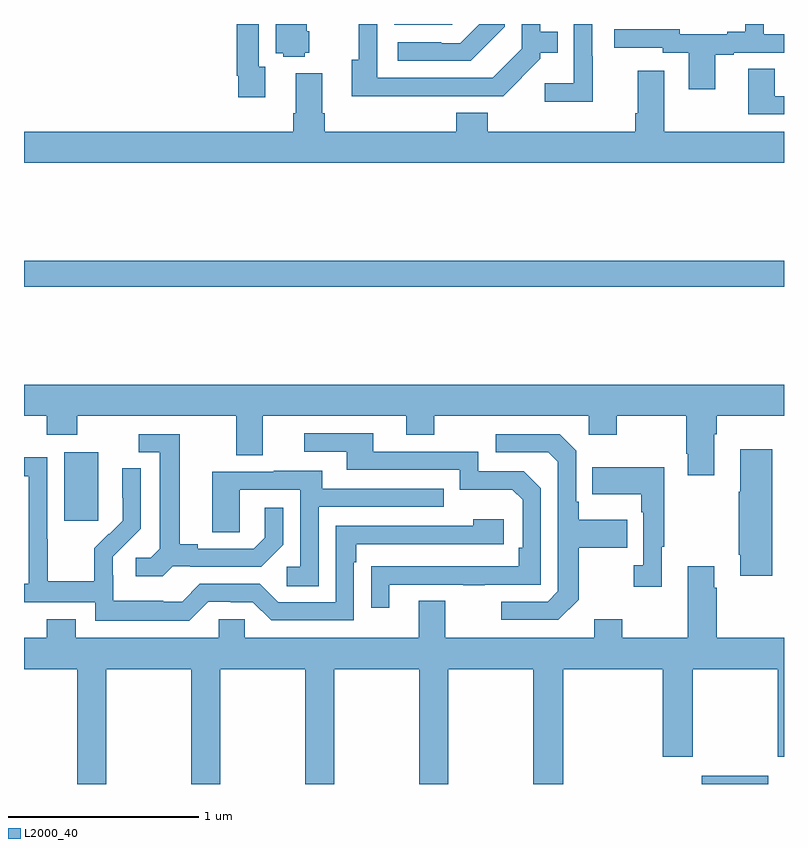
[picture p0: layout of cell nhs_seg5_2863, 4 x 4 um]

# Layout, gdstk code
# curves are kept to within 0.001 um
import gdstk
lib = gdstk.Library(unit=1e-6, precision=1e-09)
def R(c, l, rs):  # rectangles x0, y0, x1, y1
    for r in rs: c.add(gdstk.rectangle(r[:2], r[2:], *l))
def P(c, l, *ps):  # polygons
    for p in ps: c.add(gdstk.Polygon(p, *l))
L2000_40 = (2000, 40)

nhs_seg5_2863 = lib.new_cell('nhs_seg5_2863')
R(nhs_seg5_2863, L2000_40, [(280.568,878.799,280.918,878.842), (277.211,880.185,277.39,880.546), (277,881.416,281,881.552), (278.948,882.795,279.253,882.799)])
P(nhs_seg5_2863, L2000_40, [(278.269,882.575),(278.235,882.575),(278.235,882.799),(278.119,882.799),(278.119,882.526),(278.127,882.526),(278.127,882.414),(278.269,882.414)],
  [(278.478,882.648),(278.5,882.648),(278.5,882.762),(278.488,882.762),(278.488,882.799),(278.324,882.799),(278.324,882.644),(278.364,882.644),(278.364,882.626),(278.478,882.626)],
  [(279.993,882.629),(279.99,882.629),(279.99,882.799),(279.894,882.799),(279.894,882.487),(279.741,882.487),(279.741,882.389),(279.993,882.389)],
  [(279.531,882.785),(279.531,882.799),(279.397,882.799),(279.297,882.699),(279.197,882.699),(279.197,882.702),(278.967,882.702),(278.967,882.606),(279.352,882.606)],
  [(280.639,882.636),(280.735,882.636),(280.735,882.648),(281,882.648),(281,882.744),(280.893,882.744),(280.893,882.799),(280.796,882.799),(280.796,882.757),(280.7,882.757),(280.7,882.744),(280.452,882.744),(280.452,882.771),(280.107,882.771),(280.107,882.675),(280.362,882.675),(280.362,882.648),(280.499,882.648),(280.499,882.456),(280.639,882.456)],
  [(279.191,882.42),(279.522,882.42),(279.717,882.615),(279.717,882.647),(279.809,882.647),(279.809,882.757),(279.718,882.757),(279.718,882.799),(279.621,882.799),(279.621,882.669),(279.468,882.516),(278.859,882.516),(278.859,882.799),(278.763,882.799),(278.763,882.61),(278.726,882.61),(278.726,882.419)],
  [(281,882.42),(280.951,882.42),(280.951,882.563),(280.811,882.563),(280.811,882.324),(281,882.324)],
  [(281,882.232),(280.369,882.232),(280.369,882.553),(280.229,882.553),(280.229,882.328),(280.217,882.328),(280.217,882.232),(279.44,882.232),(279.44,882.331),(279.275,882.331),(279.275,882.232),(278.582,882.232),(278.582,882.328),(278.569,882.328),(278.569,882.541),(278.429,882.541),(278.429,882.328),(278.417,882.328),(278.417,882.232),(277,882.232),(277,882.068),(281,882.068)],
  [(280.633,880.64),(280.646,880.64),(280.646,880.736),(281,880.736),(281,880.9),(277,880.9),(277,880.736),(277.121,880.736),(277.121,880.637),(277.281,880.637),(277.281,880.736),(278.117,880.736),(278.117,880.528),(278.257,880.528),(278.257,880.736),(279.011,880.736),(279.011,880.637),(279.159,880.637),(279.159,880.736),(279.972,880.736),(279.972,880.637),(280.119,880.637),(280.119,880.736),(280.486,880.736),(280.486,880.537),(280.493,880.537),(280.493,880.425),(280.633,880.425)],
  [(278.923,879.849),(279.313,879.849),(279.313,879.844),(279.425,879.844),(279.425,879.849),(279.72,879.849),(279.72,880.356),(279.63,880.446),(279.39,880.446),(279.39,880.548),(278.839,880.548),(278.839,880.644),(278.475,880.644),(278.475,880.548),(278.699,880.548),(278.699,880.452),(279.294,880.452),(279.294,880.349),(279.571,880.349),(279.624,880.296),(279.624,880.042),(279.604,880.042),(279.604,879.945),(278.827,879.944),(278.827,879.726),(278.923,879.726)],
  [(279.919,879.769),(279.919,880.042),(280.175,880.042),(280.175,880.189),(279.919,880.189),(279.919,880.285),(279.906,880.285),(279.906,880.554),(279.819,880.641),(279.483,880.641),(279.483,880.545),(279.759,880.545),(279.81,880.494),(279.81,879.813),(279.756,879.759),(279.513,879.759),(279.513,879.663),(279.813,879.663)],
  [(277.782,879.945),(277.876,879.945),(277.876,879.942),(278.248,879.942),(278.364,880.058),(278.364,880.252),(278.267,880.252),(278.267,880.095),(278.21,880.038),(277.915,880.038),(277.915,880.061),(277.819,880.061),(277.819,880.641),(277.605,880.641),(277.605,880.545),(277.715,880.545),(277.715,880.037),(277.668,879.99),(277.587,879.99),(277.587,879.893),(277.73,879.893)],
  [(280.937,880.561),(280.769,880.561),(280.769,880.337),(280.762,880.337),(280.762,880.006),(280.769,880.006),(280.769,879.894),(280.937,879.894)],
  [(277.971,879.759),(278.087,879.759),(278.087,879.756),(278.205,879.756),(278.301,879.66),(278.736,879.66),(278.736,879.965),(278.749,879.965),(278.749,880.062),(279.526,880.062),(279.526,880.192),(279.365,880.192),(279.365,880.158),(278.64,880.158),(278.64,879.756),(278.337,879.756),(278.241,879.852),(277.926,879.852),(277.833,879.759),(277.733,879.759),(277.733,879.763),(277.47,879.763),(277.47,879.897),(277.468,879.897),(277.468,879.994),(277.614,880.142),(277.614,880.46),(277.518,880.46),(277.518,880.306),(277.52,880.306),(277.52,880.184),(277.449,880.113),(277.446,880.116),(277.369,880.039),(277.369,879.865),(277.125,879.865),(277.125,880.088),(277.122,880.088),(277.122,880.518),(277,880.518),(277,880.419),(277.026,880.419),(277.026,879.852),(277,879.852),(277,879.756),(277.374,879.756),(277.374,879.659),(277.871,879.659)],
  [(280.357,880.049),(280.369,880.049),(280.369,880.465),(279.991,880.465),(279.991,880.325),(280.248,880.325),(280.248,880.229),(280.26,880.229),(280.26,879.95),(280.209,879.95),(280.209,879.837),(280.357,879.837)],
  [(278.55,880.257),(279.209,880.257),(279.209,880.353),(278.569,880.353),(278.569,880.447),(278.315,880.447),(278.315,880.443),(277.991,880.443),(277.991,880.123),(278.136,880.123),(278.136,880.347),(278.454,880.347),(278.454,879.942),(278.382,879.942),(278.382,879.841),(278.55,879.841)],
  [(277.434,879.404),(277.879,879.404),(277.879,878.799),(278.034,878.799),(278.034,879.404),(278.479,879.404),(278.479,878.799),(278.634,878.799),(278.634,879.404),(279.079,879.404),(279.079,878.799),(279.234,878.799),(279.234,879.404),(279.679,879.404),(279.679,878.799),(279.839,878.799),(279.839,879.404),(280.361,879.404),(280.361,878.943),(280.521,878.943),(280.521,879.404),(280.966,879.404),(280.966,878.943),(281,878.943),(281,879.568),(280.646,879.568),(280.646,879.833),(280.633,879.833),(280.633,879.946),(280.493,879.946),(280.493,879.568),(280.149,879.568),(280.149,879.667),(280.001,879.667),(280.001,879.568),(279.217,879.568),(279.217,879.763),(279.077,879.763),(279.077,879.568),(278.163,879.568),(278.163,879.666),(278.025,879.666),(278.025,879.568),(277.273,879.568),(277.273,879.667),(277.121,879.667),(277.121,879.568),(277,879.568),(277,879.404),(277.279,879.404),(277.279,878.799),(277.434,878.799)])

lib.write_gds('nhs_seg5_2863.gds')
